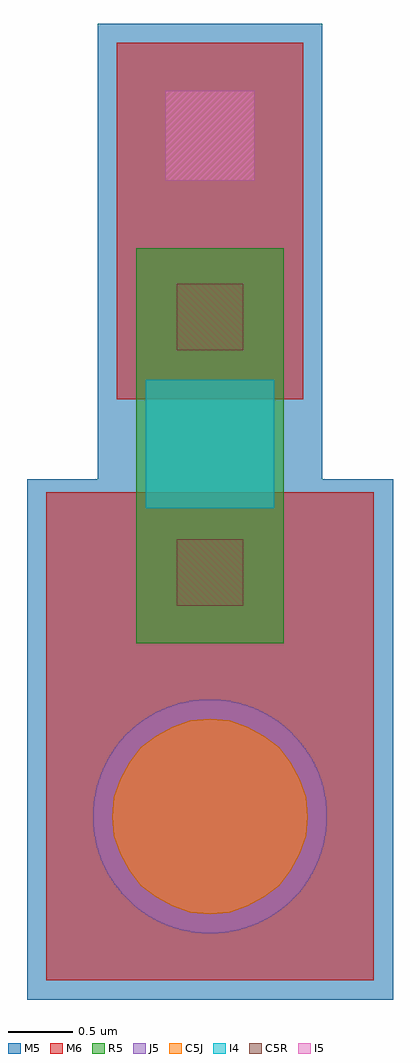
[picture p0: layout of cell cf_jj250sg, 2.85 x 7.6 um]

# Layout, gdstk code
import gdstk
lib = gdstk.Library(unit=1e-6, precision=1e-09)
def R(c, l, rs):  # rectangles x0, y0, x1, y1
    for r in rs: c.add(gdstk.rectangle(r[:2], r[2:], *l))
def P(c, l, *ps):  # polygons
    for p in ps: c.add(gdstk.Polygon(p, *l))
I4 = (41, 0)
M5 = (50, 0)
J5 = (51, 0)
R5 = (52, 0)
I5 = (54, 0)
C5J = (55, 0)
C5R = (56, 0)
M6 = (60, 0)

cf_jj250sg = lib.new_cell('cf_jj250sg')
R(cf_jj250sg, I4, [(-0.5,2.4,0.5,3.4)])
R(cf_jj250sg, M5, [(-1.425,-1.425,1.425,2.625), (-0.875,2.625,0.875,6.175)])
P(cf_jj250sg, J5, [(0,-0.91),(0.065,-0.91),(0.065,-0.905),(0.115,-0.905),(0.115,-0.9),(0.15,-0.9),(0.15,-0.895),(0.18,-0.895),(0.18,-0.89),(0.205,-0.89),(0.205,-0.885),(0.225,-0.885),(0.225,-0.88),(0.24,-0.88),(0.24,-0.875),(0.26,-0.875),(0.26,-0.87),(0.275,-0.87),(0.275,-0.865),(0.29,-0.865),(0.29,-0.86),(0.305,-0.86),(0.305,-0.855),(0.32,-0.855),(0.32,-0.85),(0.33,-0.85),(0.33,-0.845),(0.345,-0.845),(0.345,-0.84),(0.36,-0.84),(0.36,-0.835),(0.37,-0.835),(0.37,-0.83),(0.38,-0.83),(0.38,-0.825),(0.39,-0.825),(0.39,-0.82),(0.4,-0.82),(0.4,-0.815),(0.41,-0.815),(0.41,-0.81),(0.42,-0.81),(0.42,-0.805),(0.43,-0.805),(0.43,-0.8),(0.44,-0.8),(0.44,-0.795),(0.45,-0.795),(0.45,-0.79),(0.46,-0.79),(0.46,-0.785),(0.465,-0.785),(0.465,-0.78),(0.475,-0.78),(0.475,-0.775),(0.48,-0.775),(0.48,-0.77),(0.49,-0.77),(0.49,-0.765),(0.5,-0.765),(0.5,-0.76),(0.505,-0.76),(0.505,-0.755),(0.515,-0.755),(0.515,-0.75),(0.52,-0.75),(0.52,-0.745),(0.525,-0.745),(0.525,-0.74),(0.535,-0.74),(0.535,-0.735),(0.54,-0.735),(0.54,-0.73),(0.55,-0.73),(0.55,-0.725),(0.555,-0.725),(0.555,-0.72),(0.56,-0.72),(0.56,-0.715),(0.565,-0.715),(0.565,-0.71),(0.575,-0.71),(0.575,-0.705),(0.58,-0.705),(0.58,-0.7),(0.585,-0.7),(0.585,-0.695),(0.59,-0.695),(0.59,-0.69),(0.6,-0.69),(0.6,-0.685),(0.605,-0.685),(0.605,-0.68),(0.61,-0.68),(0.61,-0.675),(0.615,-0.675),(0.615,-0.67),(0.62,-0.67),(0.62,-0.665),(0.625,-0.665),(0.625,-0.66),(0.63,-0.66),(0.63,-0.655),(0.635,-0.655),(0.635,-0.65),(0.64,-0.65),(0.64,-0.645),(0.645,-0.645),(0.645,-0.64),(0.65,-0.64),(0.65,-0.635),(0.655,-0.635),(0.655,-0.63),(0.66,-0.63),(0.66,-0.625),(0.665,-0.625),(0.665,-0.62),(0.67,-0.62),(0.67,-0.615),(0.675,-0.615),(0.675,-0.61),(0.68,-0.61),(0.68,-0.605),(0.685,-0.605),(0.685,-0.6),(0.69,-0.6),(0.69,-0.595),(0.695,-0.595),(0.695,-0.59),(0.7,-0.59),(0.7,-0.585),(0.705,-0.585),(0.705,-0.58),(0.705,-0.57),(0.71,-0.57),(0.715,-0.57),(0.715,-0.565),(0.72,-0.565),(0.72,-0.56),(0.725,-0.56),(0.725,-0.555),(0.725,-0.545),(0.73,-0.545),(0.735,-0.545),(0.735,-0.54),(0.74,-0.54),(0.74,-0.535),(0.74,-0.525),(0.745,-0.525),(0.75,-0.525),(0.75,-0.52),(0.75,-0.51),(0.755,-0.51),(0.76,-0.51),(0.76,-0.505),(0.76,-0.495),(0.765,-0.495),(0.77,-0.495),(0.77,-0.49),(0.77,-0.48),(0.775,-0.48),(0.78,-0.48),(0.78,-0.475),(0.78,-0.465),(0.785,-0.465),(0.785,-0.455),(0.79,-0.455),(0.79,-0.445),(0.795,-0.445),(0.8,-0.445),(0.8,-0.44),(0.8,-0.43),(0.805,-0.43),(0.805,-0.42),(0.81,-0.42),(0.81,-0.41),(0.815,-0.41),(0.815,-0.4),(0.82,-0.4),(0.82,-0.39),(0.825,-0.39),(0.825,-0.38),(0.83,-0.38),(0.83,-0.365),(0.835,-0.365),(0.835,-0.355),(0.84,-0.355),(0.84,-0.345),(0.845,-0.345),(0.845,-0.33),(0.85,-0.33),(0.85,-0.32),(0.855,-0.32),(0.855,-0.305),(0.86,-0.305),(0.86,-0.29),(0.865,-0.29),(0.865,-0.275),(0.87,-0.275),(0.87,-0.26),(0.875,-0.26),(0.875,-0.24),(0.88,-0.24),(0.88,-0.225),(0.885,-0.225),(0.885,-0.205),(0.89,-0.205),(0.89,-0.18),(0.895,-0.18),(0.895,-0.15),(0.9,-0.15),(0.9,-0.12),(0.905,-0.12),(0.905,-0.075),(0.91,-0.075),(0.91,0.08),(0.905,0.08),(0.905,0.125),(0.9,0.125),(0.9,0.155),(0.895,0.155),(0.895,0.185),(0.89,0.185),(0.89,0.205),(0.885,0.205),(0.885,0.23),(0.88,0.23),(0.88,0.245),(0.875,0.245),(0.875,0.265),(0.87,0.265),(0.87,0.28),(0.865,0.28),(0.865,0.295),(0.86,0.295),(0.86,0.31),(0.855,0.31),(0.855,0.325),(0.85,0.325),(0.85,0.335),(0.845,0.335),(0.845,0.35),(0.84,0.35),(0.84,0.36),(0.835,0.36),(0.835,0.37),(0.83,0.37),(0.83,0.385),(0.825,0.385),(0.82,0.385),(0.82,0.39),(0.82,0.405),(0.815,0.405),(0.81,0.405),(0.81,0.41),(0.81,0.425),(0.805,0.425),(0.8,0.425),(0.8,0.43),(0.8,0.44),(0.795,0.44),(0.795,0.45),(0.79,0.45),(0.79,0.46),(0.785,0.46),(0.78,0.46),(0.78,0.465),(0.78,0.475),(0.775,0.475),(0.775,0.485),(0.77,0.485),(0.765,0.485),(0.765,0.49),(0.765,0.5),(0.76,0.5),(0.755,0.5),(0.755,0.505),(0.755,0.515),(0.75,0.515),(0.745,0.515),(0.745,0.52),(0.745,0.53),(0.74,0.53),(0.735,0.53),(0.735,0.535),(0.73,0.535),(0.73,0.54),(0.73,0.55),(0.725,0.55),(0.72,0.55),(0.72,0.555),(0.715,0.555),(0.715,0.56),(0.715,0.57),(0.71,0.57),(0.705,0.57),(0.705,0.575),(0.7,0.575),(0.7,0.58),(0.695,0.58),(0.695,0.585),(0.695,0.595),(0.69,0.595),(0.685,0.595),(0.685,0.6),(0.68,0.6),(0.68,0.605),(0.675,0.605),(0.675,0.61),(0.67,0.61),(0.67,0.615),(0.665,0.615),(0.665,0.62),(0.66,0.62),(0.66,0.625),(0.655,0.625),(0.655,0.63),(0.65,0.63),(0.65,0.635),(0.645,0.635),(0.645,0.64),(0.645,0.65),(0.64,0.65),(0.635,0.65),(0.635,0.655),(0.63,0.655),(0.63,0.66),(0.625,0.66),(0.625,0.665),(0.62,0.665),(0.62,0.67),(0.615,0.67),(0.615,0.675),(0.61,0.675),(0.61,0.68),(0.605,0.68),(0.605,0.685),(0.595,0.685),(0.595,0.69),(0.59,0.69),(0.59,0.695),(0.585,0.695),(0.585,0.7),(0.58,0.7),(0.58,0.705),(0.575,0.705),(0.575,0.71),(0.565,0.71),(0.565,0.715),(0.56,0.715),(0.56,0.72),(0.555,0.72),(0.555,0.725),(0.55,0.725),(0.55,0.73),(0.54,0.73),(0.54,0.735),(0.535,0.735),(0.535,0.74),(0.53,0.74),(0.53,0.745),(0.52,0.745),(0.52,0.75),(0.515,0.75),(0.515,0.755),(0.505,0.755),(0.505,0.76),(0.495,0.76),(0.495,0.765),(0.49,0.765),(0.49,0.77),(0.48,0.77),(0.48,0.775),(0.475,0.775),(0.475,0.78),(0.465,0.78),(0.465,0.785),(0.455,0.785),(0.455,0.79),(0.45,0.79),(0.45,0.795),(0.44,0.795),(0.44,0.8),(0.43,0.8),(0.43,0.805),(0.42,0.805),(0.42,0.81),(0.41,0.81),(0.41,0.815),(0.4,0.815),(0.4,0.82),(0.39,0.82),(0.39,0.825),(0.38,0.825),(0.38,0.83),(0.37,0.83),(0.37,0.835),(0.36,0.835),(0.36,0.84),(0.345,0.84),(0.345,0.845),(0.335,0.845),(0.335,0.85),(0.32,0.85),(0.32,0.855),(0.305,0.855),(0.305,0.86),(0.295,0.86),(0.295,0.865),(0.28,0.865),(0.28,0.87),(0.26,0.87),(0.26,0.875),(0.245,0.875),(0.245,0.88),(0.225,0.88),(0.225,0.885),(0.205,0.885),(0.205,0.89),(0.18,0.89),(0.18,0.895),(0.16,0.895),(0.16,0.9),(0.125,0.9),(0.125,0.905),(0.085,0.905),(0.085,0.91),(-0.085,0.91),(-0.085,0.905),(-0.13,0.905),(-0.13,0.9),(-0.16,0.9),(-0.16,0.895),(-0.185,0.895),(-0.185,0.89),(-0.205,0.89),(-0.205,0.885),(-0.23,0.885),(-0.23,0.88),(-0.25,0.88),(-0.25,0.875),(-0.265,0.875),(-0.265,0.87),(-0.28,0.87),(-0.28,0.865),(-0.295,0.865),(-0.295,0.86),(-0.31,0.86),(-0.31,0.855),(-0.325,0.855),(-0.325,0.85),(-0.335,0.85),(-0.335,0.845),(-0.345,0.845),(-0.345,0.84),(-0.36,0.84),(-0.36,0.835),(-0.375,0.835),(-0.375,0.83),(-0.38,0.83),(-0.38,0.825),(-0.395,0.825),(-0.395,0.82),(-0.405,0.82),(-0.405,0.815),(-0.415,0.815),(-0.415,0.81),(-0.425,0.81),(-0.425,0.805),(-0.435,0.805),(-0.435,0.8),(-0.44,0.8),(-0.44,0.795),(-0.45,0.795),(-0.45,0.79),(-0.46,0.79),(-0.46,0.785),(-0.47,0.785),(-0.47,0.78),(-0.475,0.78),(-0.475,0.775),(-0.485,0.775),(-0.485,0.77),(-0.49,0.77),(-0.49,0.765),(-0.5,0.765),(-0.5,0.76),(-0.51,0.76),(-0.51,0.755),(-0.515,0.755),(-0.515,0.75),(-0.525,0.75),(-0.525,0.745),(-0.53,0.745),(-0.53,0.74),(-0.535,0.74),(-0.535,0.735),(-0.545,0.735),(-0.545,0.73),(-0.55,0.73),(-0.55,0.725),(-0.555,0.725),(-0.555,0.72),(-0.565,0.72),(-0.565,0.715),(-0.57,0.715),(-0.57,0.71),(-0.575,0.71),(-0.575,0.705),(-0.58,0.705),(-0.58,0.7),(-0.59,0.7),(-0.59,0.695),(-0.595,0.695),(-0.595,0.69),(-0.6,0.69),(-0.6,0.685),(-0.605,0.685),(-0.605,0.68),(-0.61,0.68),(-0.61,0.675),(-0.615,0.675),(-0.615,0.67),(-0.62,0.67),(-0.62,0.665),(-0.625,0.665),(-0.625,0.66),(-0.63,0.66),(-0.63,0.655),(-0.64,0.655),(-0.64,0.65),(-0.645,0.65),(-0.645,0.645),(-0.65,0.645),(-0.65,0.64),(-0.655,0.64),(-0.655,0.635),(-0.66,0.635),(-0.66,0.63),(-0.665,0.63),(-0.665,0.625),(-0.67,0.625),(-0.67,0.62),(-0.675,0.62),(-0.675,0.615),(-0.675,0.605),(-0.68,0.605),(-0.685,0.605),(-0.685,0.6),(-0.69,0.6),(-0.69,0.595),(-0.695,0.595),(-0.695,0.59),(-0.7,0.59),(-0.7,0.585),(-0.705,0.585),(-0.705,0.58),(-0.71,0.58),(-0.71,0.575),(-0.71,0.565),(-0.715,0.565),(-0.72,0.565),(-0.72,0.56),(-0.725,0.56),(-0.725,0.555),(-0.725,0.545),(-0.73,0.545),(-0.735,0.545),(-0.735,0.54),(-0.74,0.54),(-0.74,0.535),(-0.74,0.525),(-0.745,0.525),(-0.75,0.525),(-0.75,0.52),(-0.755,0.52),(-0.755,0.515),(-0.755,0.505),(-0.76,0.505),(-0.765,0.505),(-0.765,0.5),(-0.765,0.49),(-0.77,0.49),(-0.77,0.48),(-0.775,0.48),(-0.78,0.48),(-0.78,0.475),(-0.78,0.465),(-0.785,0.465),(-0.79,0.465),(-0.79,0.46),(-0.79,0.45),(-0.795,0.45),(-0.795,0.44),(-0.8,0.44),(-0.8,0.43),(-0.805,0.43),(-0.805,0.42),(-0.81,0.42),(-0.81,0.41),(-0.815,0.41),(-0.815,0.4),(-0.82,0.4),(-0.82,0.39),(-0.825,0.39),(-0.825,0.38),(-0.83,0.38),(-0.83,0.37),(-0.835,0.37),(-0.835,0.355),(-0.84,0.355),(-0.84,0.345),(-0.845,0.345),(-0.845,0.33),(-0.85,0.33),(-0.85,0.32),(-0.855,0.32),(-0.855,0.305),(-0.86,0.305),(-0.86,0.29),(-0.865,0.29),(-0.865,0.28),(-0.87,0.28),(-0.87,0.26),(-0.875,0.26),(-0.875,0.245),(-0.88,0.245),(-0.88,0.225),(-0.885,0.225),(-0.885,0.205),(-0.89,0.205),(-0.89,0.18),(-0.895,0.18),(-0.895,0.155),(-0.9,0.155),(-0.9,0.12),(-0.905,0.12),(-0.905,0.075),(-0.91,0.075),(-0.91,-0.08),(-0.905,-0.08),(-0.905,-0.12),(-0.9,-0.12),(-0.9,-0.155),(-0.895,-0.155),(-0.895,-0.18),(-0.89,-0.18),(-0.89,-0.205),(-0.885,-0.205),(-0.885,-0.225),(-0.88,-0.225),(-0.88,-0.245),(-0.875,-0.245),(-0.875,-0.26),(-0.87,-0.26),(-0.87,-0.28),(-0.865,-0.28),(-0.865,-0.295),(-0.86,-0.295),(-0.86,-0.305),(-0.855,-0.305),(-0.855,-0.32),(-0.85,-0.32),(-0.85,-0.335),(-0.845,-0.335),(-0.845,-0.345),(-0.84,-0.345),(-0.84,-0.36),(-0.835,-0.36),(-0.835,-0.37),(-0.83,-0.37),(-0.83,-0.38),(-0.825,-0.38),(-0.825,-0.39),(-0.82,-0.39),(-0.82,-0.4),(-0.815,-0.4),(-0.815,-0.41),(-0.81,-0.41),(-0.81,-0.42),(-0.805,-0.42),(-0.805,-0.43),(-0.8,-0.43),(-0.8,-0.44),(-0.795,-0.44),(-0.795,-0.45),(-0.79,-0.45),(-0.79,-0.46),(-0.785,-0.46),(-0.78,-0.46),(-0.78,-0.465),(-0.78,-0.475),(-0.775,-0.475),(-0.77,-0.475),(-0.77,-0.48),(-0.77,-0.49),(-0.765,-0.49),(-0.765,-0.5),(-0.76,-0.5),(-0.755,-0.5),(-0.755,-0.505),(-0.755,-0.515),(-0.75,-0.515),(-0.745,-0.515),(-0.745,-0.52),(-0.745,-0.53),(-0.74,-0.53),(-0.735,-0.53),(-0.735,-0.535),(-0.73,-0.535),(-0.73,-0.54),(-0.73,-0.55),(-0.725,-0.55),(-0.72,-0.55),(-0.72,-0.555),(-0.715,-0.555),(-0.715,-0.56),(-0.71,-0.56),(-0.71,-0.565),(-0.71,-0.575),(-0.705,-0.575),(-0.7,-0.575),(-0.7,-0.58),(-0.695,-0.58),(-0.695,-0.585),(-0.69,-0.585),(-0.69,-0.59),(-0.69,-0.6),(-0.685,-0.6),(-0.68,-0.6),(-0.68,-0.605),(-0.675,-0.605),(-0.675,-0.61),(-0.67,-0.61),(-0.67,-0.615),(-0.665,-0.615),(-0.665,-0.62),(-0.66,-0.62),(-0.66,-0.625),(-0.655,-0.625),(-0.655,-0.63),(-0.65,-0.63),(-0.65,-0.635),(-0.645,-0.635),(-0.645,-0.64),(-0.64,-0.64),(-0.64,-0.645),(-0.635,-0.645),(-0.635,-0.65),(-0.63,-0.65),(-0.63,-0.655),(-0.625,-0.655),(-0.625,-0.66),(-0.62,-0.66),(-0.62,-0.665),(-0.615,-0.665),(-0.615,-0.67),(-0.61,-0.67),(-0.61,-0.675),(-0.605,-0.675),(-0.605,-0.68),(-0.6,-0.68),(-0.6,-0.685),(-0.595,-0.685),(-0.595,-0.69),(-0.59,-0.69),(-0.59,-0.695),(-0.585,-0.695),(-0.585,-0.7),(-0.58,-0.7),(-0.58,-0.705),(-0.57,-0.705),(-0.57,-0.71),(-0.565,-0.71),(-0.565,-0.715),(-0.56,-0.715),(-0.56,-0.72),(-0.555,-0.72),(-0.555,-0.725),(-0.545,-0.725),(-0.545,-0.73),(-0.54,-0.73),(-0.54,-0.735),(-0.535,-0.735),(-0.535,-0.74),(-0.525,-0.74),(-0.525,-0.745),(-0.52,-0.745),(-0.52,-0.75),(-0.51,-0.75),(-0.51,-0.755),(-0.505,-0.755),(-0.505,-0.76),(-0.495,-0.76),(-0.495,-0.765),(-0.49,-0.765),(-0.49,-0.77),(-0.48,-0.77),(-0.48,-0.775),(-0.475,-0.775),(-0.475,-0.78),(-0.465,-0.78),(-0.465,-0.785),(-0.455,-0.785),(-0.455,-0.79),(-0.445,-0.79),(-0.445,-0.795),(-0.44,-0.795),(-0.44,-0.8),(-0.425,-0.8),(-0.425,-0.805),(-0.42,-0.805),(-0.42,-0.81),(-0.41,-0.81),(-0.41,-0.815),(-0.4,-0.815),(-0.4,-0.82),(-0.39,-0.82),(-0.39,-0.825),(-0.38,-0.825),(-0.38,-0.83),(-0.365,-0.83),(-0.365,-0.835),(-0.355,-0.835),(-0.355,-0.84),(-0.345,-0.84),(-0.345,-0.845),(-0.33,-0.845),(-0.33,-0.85),(-0.32,-0.85),(-0.32,-0.855),(-0.305,-0.855),(-0.305,-0.86),(-0.29,-0.86),(-0.29,-0.865),(-0.275,-0.865),(-0.275,-0.87),(-0.26,-0.87),(-0.26,-0.875),(-0.24,-0.875),(-0.24,-0.88),(-0.22,-0.88),(-0.22,-0.885),(-0.2,-0.885),(-0.2,-0.89),(-0.175,-0.89),(-0.175,-0.895),(-0.15,-0.895),(-0.15,-0.9),(-0.115,-0.9),(-0.115,-0.905),(-0.065,-0.905),(-0.065,-0.91)])
R(cf_jj250sg, R5, [(-0.575,1.35,0.575,4.425)])
R(cf_jj250sg, I5, [(-0.35,4.95,0.35,5.65)])
P(cf_jj250sg, C5J, [(0,-0.76),(0.15,-0.75),(0.29,-0.7),(0.42,-0.63),(0.54,-0.54),(0.63,-0.42),(0.7,-0.29),(0.75,-0.15),(0.76,0),(0.75,0.15),(0.7,0.29),(0.63,0.42),(0.54,0.54),(0.42,0.63),(0.29,0.7),(0.15,0.75),(0,0.76),(-0.15,0.75),(-0.29,0.7),(-0.42,0.63),(-0.54,0.54),(-0.63,0.42),(-0.7,0.29),(-0.75,0.15),(-0.76,0),(-0.75,-0.15),(-0.7,-0.29),(-0.63,-0.42),(-0.54,-0.54),(-0.42,-0.63),(-0.29,-0.7),(-0.15,-0.75)])
R(cf_jj250sg, C5R, [(-0.26,1.64,0.26,2.16), (-0.26,3.63,0.26,4.15)])
R(cf_jj250sg, M6, [(-1.275,-1.275,1.275,2.525), (-0.725,3.25,0.725,6.025)])

lib.write_gds('cf_jj250sg.gds')
